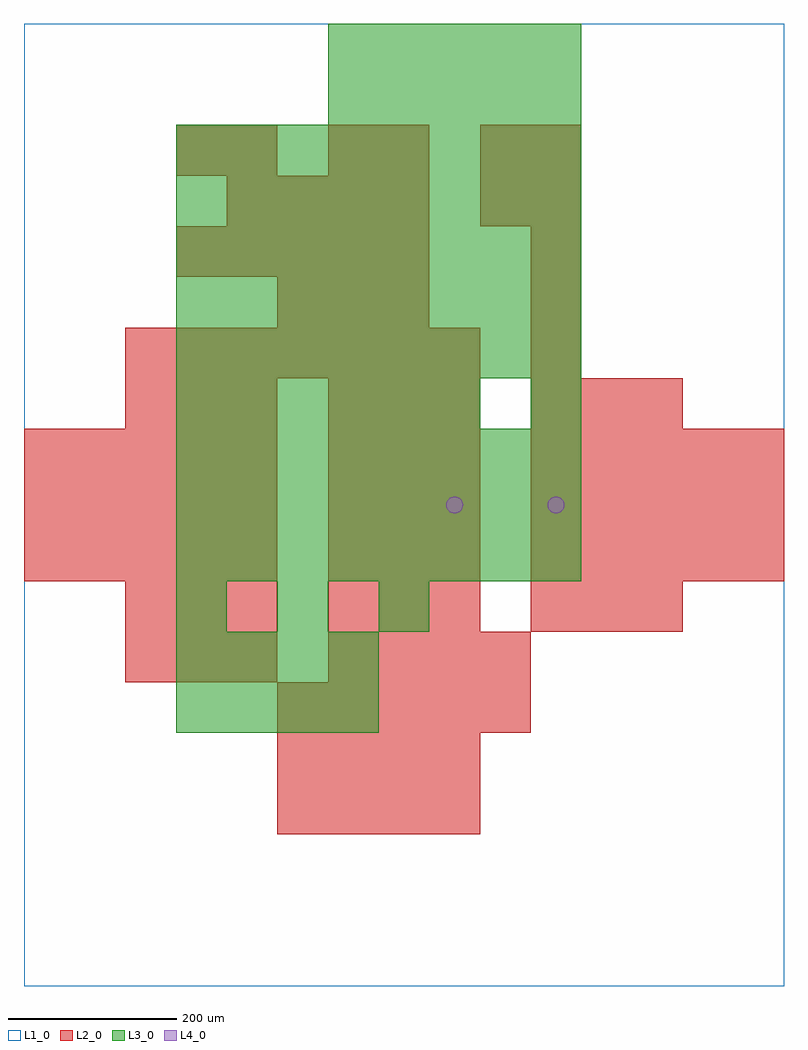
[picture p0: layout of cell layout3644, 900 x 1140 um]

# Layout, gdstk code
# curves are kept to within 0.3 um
import gdstk
lib = gdstk.Library(unit=1e-6, precision=1e-09)
def R(c, l, rs):  # rectangles x0, y0, x1, y1
    for r in rs: c.add(gdstk.rectangle(r[:2], r[2:], *l))
def A(c, l, x, y, w, h, nx, ny, dx, dy):  # array of equal rectangles
    R(c, l, [(x+i*dx, y+j*dy, x+i*dx+w, y+j*dy+h) for i in range(nx) for j in range(ny)])
def P(c, l, *ps):  # polygons
    for p in ps: c.add(gdstk.Polygon(p, *l))
L1_0 = (1, 0)
L2_0 = (2, 0)
L3_0 = (3, 0)
L4_0 = (4, 0)

layout3644 = lib.new_cell('layout3644')
R(layout3644, L1_0, [(0,0,900,1140)])
A(layout3644, L2_0, 300, 180, 60, 60, 4, 2, 60, 60)
A(layout3644, L2_0, 300, 300, 60, 60, 5, 1, 60, 0)
A(layout3644, L2_0, 120, 360, 60, 60, 3, 2, 60, 60)
A(layout3644, L2_0, 360, 360, 60, 60, 4, 1, 60, 0)
A(layout3644, L2_0, 360, 420, 60, 60, 3, 5, 60, 60)
A(layout3644, L2_0, 600, 420, 60, 60, 3, 2, 60, 240)
A(layout3644, L2_0, 0, 480, 60, 60, 5, 3, 60, 60)
A(layout3644, L2_0, 600, 480, 60, 60, 5, 3, 60, 60)
A(layout3644, L2_0, 120, 660, 60, 60, 3, 1, 60, 0)
A(layout3644, L2_0, 120, 720, 60, 60, 7, 1, 60, 0)
A(layout3644, L2_0, 600, 720, 60, 60, 1, 5, 0, 60)
A(layout3644, L2_0, 300, 780, 60, 60, 3, 1, 60, 0)
A(layout3644, L2_0, 180, 840, 60, 60, 5, 1, 60, 0)
A(layout3644, L2_0, 240, 900, 60, 60, 4, 1, 60, 0)
R(layout3644, L2_0, [(540,900,600,960), (180,960,240,1020), (240,960,300,1020), (360,960,420,1020), (420,960,480,1020), (540,960,600,1020)])
A(layout3644, L3_0, 180, 300, 60, 60, 4, 2, 60, 60)
A(layout3644, L3_0, 180, 420, 60, 60, 3, 1, 120, 0)
A(layout3644, L3_0, 180, 480, 60, 60, 8, 3, 60, 60)
A(layout3644, L3_0, 180, 660, 60, 60, 6, 1, 60, 0)
A(layout3644, L3_0, 180, 720, 60, 60, 8, 5, 60, 60)
A(layout3644, L3_0, 360, 1020, 60, 60, 5, 2, 60, 60)
R(layout3644, L3_0, [(600,660,660,720)])
P(layout3644, L4_0, [(520,570),(519.239,573.827),(517.071,577.071),(513.827,579.239),(510,580),(506.173,579.239),(502.929,577.071),(500.761,573.827),(500,570),(500.761,566.173),(502.929,562.929),(506.173,560.761),(510,560),(513.827,560.761),(517.071,562.929),(519.239,566.173)],
  [(640,570),(639.239,573.827),(637.071,577.071),(633.827,579.239),(630,580),(626.173,579.239),(622.929,577.071),(620.761,573.827),(620,570),(620.761,566.173),(622.929,562.929),(626.173,560.761),(630,560),(633.827,560.761),(637.071,562.929),(639.239,566.173)])

lib.write_gds('layout3644.gds')
